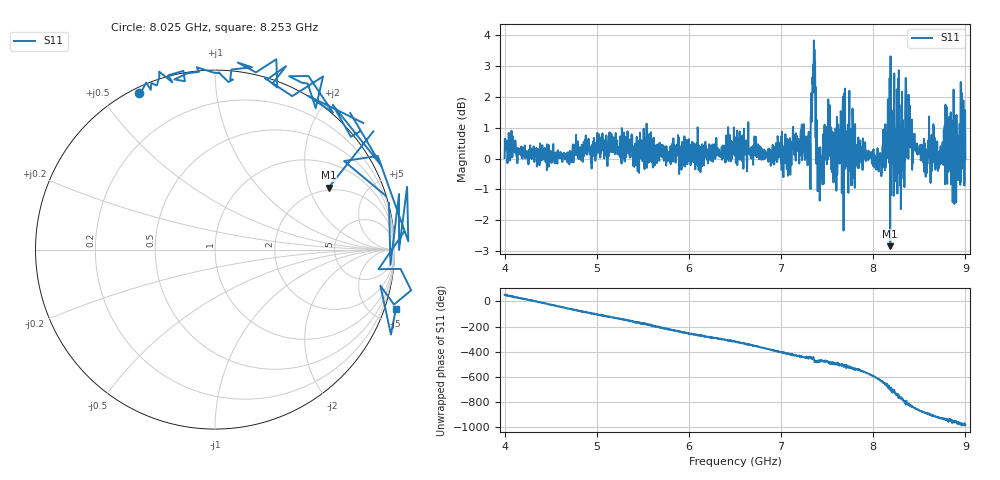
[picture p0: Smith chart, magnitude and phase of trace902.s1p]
! Created with skrf 1.8.0 (http://scikit-rf.org).
# Hz S RI R 50.0
!freq ReS11 ImS11
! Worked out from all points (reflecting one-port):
!   1601 points, 4 GHz to 9 GHz, reference 50 ohm
!   lowest |S11| = -2.8 dB at 8.184 GHz (marker M1), VSWR 6.16, Z = 94.7 + j136 ohm
!   phase of S11 starts at 52 deg and turns -1036 deg over the sweep
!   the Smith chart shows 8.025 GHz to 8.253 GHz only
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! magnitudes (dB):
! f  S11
! 4 GHz  0.0
! 4.625 GHz  -0.1
! 5.25 GHz  0.0
! 5.875 GHz  0.2
! 6.5 GHz  0.5
! 7.038 GHz  0.1
! 7.125 GHz  0.4
! 7.294 GHz  0.1
! 7.353 GHz  2.7
! 7.369 GHz  3.2
! 7.397 GHz  -1.1
! 7.422 GHz  -1.2
! 7.509 GHz  0.0
! 7.591 GHz  1.0
! 7.669 GHz  1.7
! 7.75 GHz  0.1
! 8.075 GHz  0.2
! 8.184 GHz  -2.8
! 8.253 GHz  0.5
! 8.316 GHz  0.6
! 8.334 GHz  0.9
! 8.375 GHz  0.5
! 8.447 GHz  0.8
! 8.566 GHz  0.1
! 8.816 GHz  -0.4
! 8.903 GHz  1.4
! 8.956 GHz  0.3
! 9 GHz  0.0
